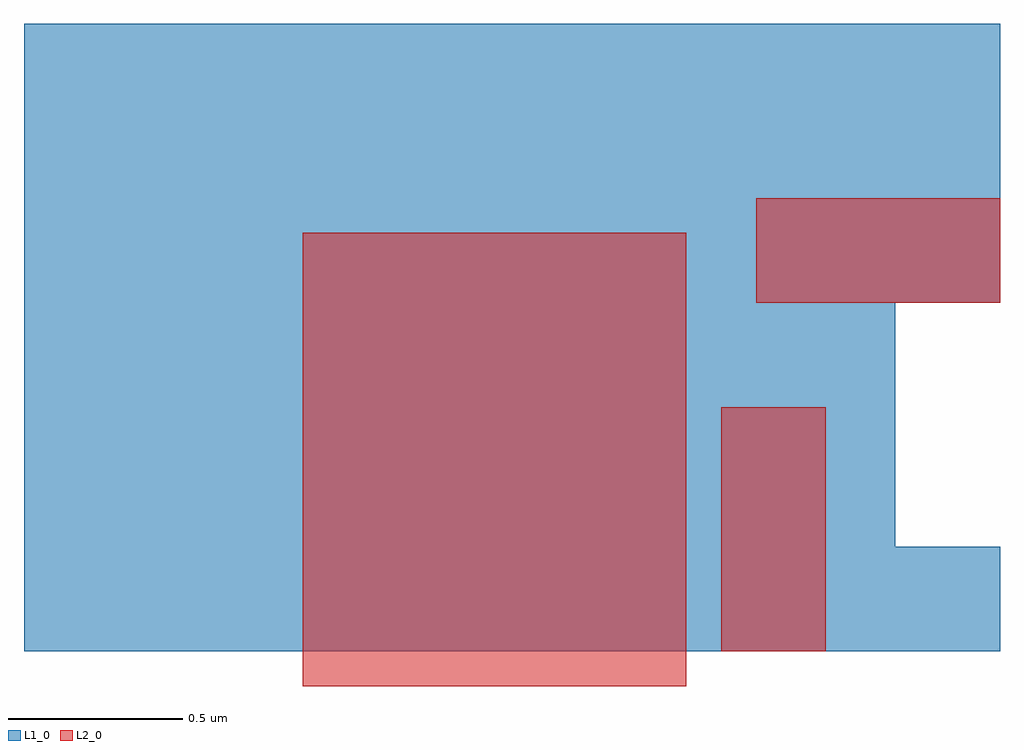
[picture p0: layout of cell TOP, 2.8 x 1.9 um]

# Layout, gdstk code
from math import pi, radians
import gdstk
lib = gdstk.Library(unit=1e-6, precision=5e-10)
def R(c, l, rs):  # rectangles x0, y0, x1, y1
    for r in rs: c.add(gdstk.rectangle(r[:2], r[2:], *l))
L1_0 = (1, 0)
L2_0 = (2, 0)

c_b = lib.new_cell('B')
R(c_b, L1_0, [(0,0,0.8,0.3)])
R(c_b, L2_0, [(0,0,0.3,0.7)])

top = lib.new_cell('TOP')
R(top, L1_0, [(0.2,0.2,2.7,2)])
R(top, L2_0, [(1,0.1,2.1,1.4)])
top.add(gdstk.Reference(c_b, (2.2,0.2)))
top.add(gdstk.Reference(c_b, (3,1.2), rotation=pi/2))

lib.write_gds('TOP.gds')
